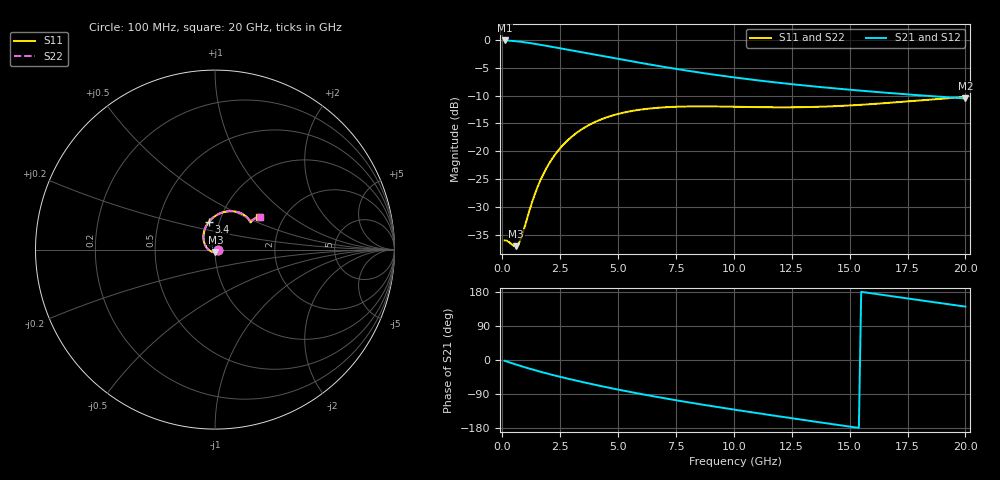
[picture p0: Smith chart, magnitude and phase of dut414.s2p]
! Touchstone file exported from HFSS 2024.1.0
!  File:  C:/UserFiles/LocalFiles/RDL_TSV_Batchsim/temp_RDL_TSV_414_1779715456.aedt
!  Generated:  09:40:33 PM May 25, 2026
!  Design:  RDL_TSV
!  Project:  temp_RDL_TSV_414_1779715456
!  Setup:  Setup1
!  Solution:  Sweep
! Variables:
!  dtsv = 13.48um
!  hbump = 3um
!  htsv = 89.86um
!  ldown = 435.25um
!  lrdl = 379.2um
!  p = 40
!  p1 = 48.55um
!  rhole = 10um
!  subl = 2822.55um
!  t = 450um
!  tdown = 3.67um
!  trdl = 3.71um
!  viad = 10um
!  wdown = 13.83um
!  wrdl = 21.82um
!  xbump = 18um
# GHz S MA R 50.000000
! Terminal data exported
! Port[1] = TM1_1_T1
! Port[2] = TM1_4_T1
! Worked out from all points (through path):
!   200 points, 100 MHz to 20 GHz, reference 50 ohm
!   highest |S21| = -0.15 dB at 100 MHz (marker M1); lowest = -10.5 dB at 20 GHz (marker M2)
!   group delay of S21, straight-line fit = 28.5 ps
!   lowest |S11| = -37.0 dB at 600 MHz (marker M3), VSWR 1.03, Z = 50.2 - j1.41 ohm
!   |S11| at or under -10 dB: start of sweep to end of sweep
!   |S22| runs from -37.0 to -10.3 dB; largest |S21 - S12| = 7.8e-15
!   S11 on the Smith chart (normalised r, x): 100 MHz: 1.03, -0.01; 3.4 GHz: 0.89, +0.28; 20 GHz: 1.51, +0.61
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0.1  0.016 -9.1  0.9833 -2.1  0.9833 -2.1  0.016 -9.1
! Gamma 0 0 0 0
! Port Impedance 50 0 50 0
0.6  0.01421 -82.6  0.9674 -12.1  0.9674 -12.1  0.01419 -82.8
0.7  0.01488 -101.6  0.9625 -14.0  0.9625 -14.0  0.01488 -101.8
0.8  0.01649 -119.9  0.9571 -15.9  0.9571 -15.9  0.01649 -120.1
1.4  0.04115 174.1  0.9177 -26.8  0.9177 -26.8  0.04119 174.0
1.6  0.05242 162.1  0.9031 -30.2  0.9031 -30.2  0.05246 162.1
1.9  0.07038 147.9  0.8807 -35.1  0.8807 -35.1  0.07043 147.9
2.2  0.08878 136.3  0.8584 -39.8  0.8584 -39.8  0.08884 136.3
2.6  0.1129 123.4  0.8292 -45.9  0.8292 -45.9  0.1129 123.5
3.4  0.1563 103.4  0.7735 -57.3  0.7735 -57.3  0.1564 103.4
3.5  0.1611 101.2  0.7668 -58.7  0.7668 -58.7  0.1613 101.3
4.2  0.1909 88.1  0.7214 -68.0  0.7214 -68.0  0.1911 88.1
4.9  0.2136 77.3  0.6789 -76.8  0.6789 -76.8  0.2139 77.3
5.8  0.2338 66.2  0.6285 -87.6  0.6285 -87.6  0.2341 66.2
6.8  0.2465 56.7  0.5787 -98.8  0.5787 -98.8  0.247 56.7
8.4  0.2529 46.3  0.5122 -115.4  0.5122 -115.4  0.2536 46.2
10.1  0.2509 40.1  0.457 -131.8  0.457 -131.8  0.2516 40.0
11.7  0.2482 37.7  0.4166 -146.5  0.4166 -146.5  0.2491 37.6
13.4  0.2499 37.4  0.3825 -161.7  0.3825 -161.7  0.2507 37.2
15  0.2577 38.0  0.3565 -175.8  0.3565 -175.8  0.2583 37.7
16.7  0.272 38.3  0.3334 169.4  0.3334 169.4  0.2724 38.0
20  0.3072 36.3  0.2976 140.9  0.2976 140.9  0.3071 35.9
